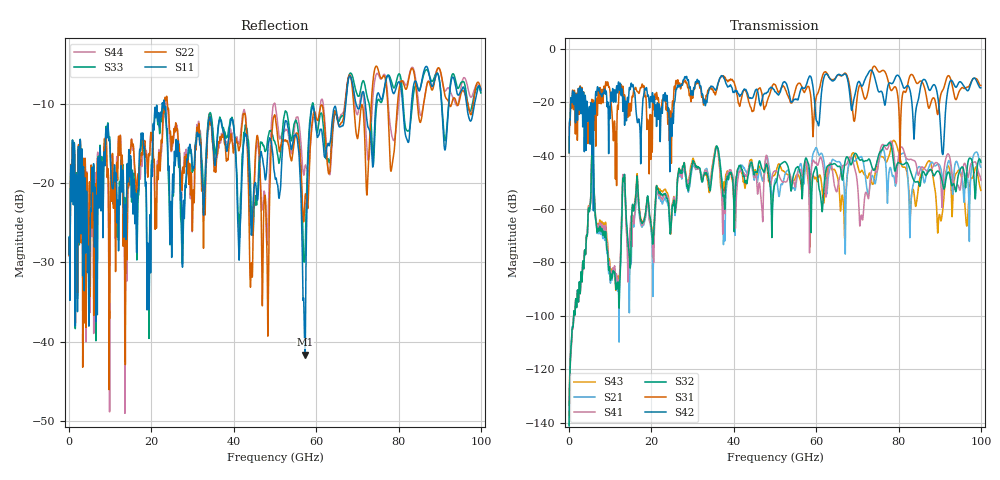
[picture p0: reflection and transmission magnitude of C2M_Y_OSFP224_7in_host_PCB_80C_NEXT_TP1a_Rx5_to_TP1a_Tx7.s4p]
# GHz S RI R 45
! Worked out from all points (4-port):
!   4000 points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, 25 MHz to 100 GHz, reference 45 ohm
!   strongest paths, dB at 25 MHz, 25.02 GHz, 50.02 GHz, 75.03 GHz, 100 GHz:
!     S42: -38.9, -28.8, -16.1, -15.6, -14.6
!     S31: -38.9, -22.1, -13.4, -8.3, -13.8
!     S32: -141.2, -59.8, -50.4, -40.5, -42.5
!     S41: -137.2, -59.3, -45.7, -44.0, -49.2
!     S21: -140.9, -59.7, -49.2, -44.0, -44.3
!     S43: -133.4, -59.2, -47.0, -41.1, -53.0
!   lowest |S11| = -41.6 dB at 57.33 GHz (marker M1), VSWR 1.02, Z = 45.1 - j0.737 ohm
!   |S11| at or under -10 dB: start of sweep to 22.61 GHz; 23.17 GHz to 67.17 GHz (44 GHz wide, 97.4 % of centre); 71.95 GHz to 74.52 GHz (2.568 GHz wide, 3.51 % of centre) (the widest 3 of 8)
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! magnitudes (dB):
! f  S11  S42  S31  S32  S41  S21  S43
! 25 MHz  -29.0  -38.9  -38.9  -141.2  -137.2  -140.9  -133.4
! 5.7 GHz  -20.2  -21.0  -21.6  -39.4  -39.2  -39.4  -39.1
! 11.95 GHz  -24.6  -13.0  -22.6  -87.3  -86.8  -88.9  -85.2
! 13.3 GHz  -26.0  -18.1  -18.5  -49.4  -49.1  -49.3  -49.2
! 14.7 GHz  -18.4  -14.5  -25.1  -78.9  -70.7  -88.5  -71.3
! 57.33 GHz  -41.6  -14.6  -15.8  -41.6  -43.0  -44.9  -42.2
! 100 GHz  -8.3  -14.6  -13.8  -42.5  -49.2  -44.3  -53.0
